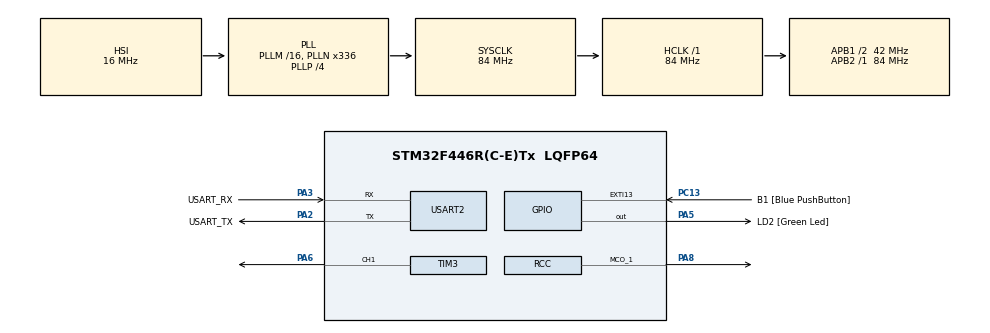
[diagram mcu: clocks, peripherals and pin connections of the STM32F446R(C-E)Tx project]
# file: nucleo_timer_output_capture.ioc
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Mcu.Family=STM32F4
Mcu.Name=STM32F446R(C-E)Tx
Mcu.Package=LQFP64
NVIC.PriorityGroup=NVIC_PRIORITYGROUP_0
NVIC.RCC_IRQn=true\:0\:0\:false\:false\:true\:true\:false\:true
NVIC.USART2_IRQn=true\:0\:0\:false\:false\:true\:true\:true\:true
PA13.GPIO_Label=TMS
PA13.Signal=SYS_JTMS-SWDIO
PA14.GPIO_Label=TCK
PA14.Signal=SYS_JTCK-SWCLK
PA2.GPIO_Label=USART_TX
PA2.Mode=Asynchronous
PA2.Signal=USART2_TX
PA3.GPIO_Label=USART_RX
PA3.Mode=Asynchronous
PA3.Signal=USART2_RX
PA5.GPIO_Label=LD2 [Green Led]
PA5.Signal=GPIO_Output
PA6.Signal=S_TIM3_CH1
PA8.Mode=Clock-out-1
PA8.Signal=RCC_MCO_1
PB3.GPIO_Label=SWO
PB3.Signal=SYS_JTDO-SWO
PC13.GPIO_Label=B1 [Blue PushButton]
PC13.GPIO_ModeDefaultEXTI=GPIO_MODE_IT_FALLING
PC13.Signal=GPXTI13
PC14-OSC32_IN.Signal=RCC_OSC32_IN
PC15-OSC32_OUT.Signal=RCC_OSC32_OUT
PH0-OSC_IN.Signal=RCC_OSC_IN
PH1-OSC_OUT.Signal=RCC_OSC_OUT
ProjectManager.HeapSize=0x200
ProjectManager.StackSize=0x400
ProjectManager.TargetToolchain=STM32CubeIDE
RCC.AHBFreq_Value=84000000
RCC.APB1CLKDivider=RCC_HCLK_DIV2
RCC.APB1Freq_Value=42000000
RCC.APB1TimFreq_Value=84000000
RCC.APB2Freq_Value=84000000
RCC.APB2TimFreq_Value=84000000
RCC.CortexFreq_Value=84000000
RCC.FLatency-AdvancedSettings=FLASH_LATENCY_2
RCC.HCLKFreq_Value=84000000
RCC.HSE_VALUE=8000000
RCC.HSI_VALUE=16000000
RCC.LSE_VALUE=32768
RCC.PLLN=336
RCC.PLLP=RCC_PLLP_DIV4
RCC.SYSCLKFreq_VALUE=84000000
RCC.SYSCLKSource=RCC_SYSCLKSOURCE_PLLCLK
RCC.USBFreq_Value=168000000
RCC.VCOOutputFreq_Value=336000000
SH.S_TIM3_CH1.0=TIM3_CH1,Output Compare1 CH1
TIM3.Channel-Output\ Compare1\ CH1=TIM_CHANNEL_1
USART2.VirtualMode=VM_ASYNC
VP_TIM3_VS_ClockSourceINT.Mode=Internal
board=NUCLEO-F446RE

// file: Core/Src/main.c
/* USER CODE BEGIN Header */
/**
 ******************************************************************************
 * @file           : main.c
 * @brief          : Main program body
 ******************************************************************************
 * @attention
 *
 * Copyright (c) 2024 STMicroelectronics.
 * All rights reserved.
 *
 * This software is licensed under terms that can be found in the LICENSE file
 * in the root directory of this software component.
 * If no LICENSE file comes with this software, it is provided AS-IS.
 *
 ******************************************************************************
 */
/* USER CODE END Header */
#include "main.h"

/* USER CODE BEGIN Includes */
#include <string.h>
#include <stdio.h>
#include <stdarg.h> // Include for va_list and related functions
/* USER CODE END Includes */

TIM_HandleTypeDef htim3;

UART_HandleTypeDef huart2;

/* USER CODE BEGIN PV */
volatile uint8_t is_capture_done = 0;
uint32_t input_captures[2] = { 0 };
uint8_t count = 1;
/* USER CODE END PV */

void SystemClock_Config(void);
static void MX_GPIO_Init(void);
static void MX_USART2_UART_Init(void);
static void MX_TIM3_Init(void);
/* USER CODE BEGIN PFP */
void logUART(const char *format, ...);
/* USER CODE END PFP */

/* USER CODE BEGIN 0 */
/**
 * Callback when interrupt is triggered in input capture of timer2.
 */
void HAL_TIM_IC_CaptureCallback(TIM_HandleTypeDef *htim) {
	if (htim->Channel == HAL_TIM_ACTIVE_CHANNEL_1) {
		logUART("\nActive value = %d\r\n",
				HAL_TIM_ReadCapturedValue(htim, TIM_CHANNEL_1));

		if (HAL_TIM_ReadCapturedValue(htim, TIM_CHANNEL_1) == 0) {
			logUART("\nEQUALS0 = %d\r\n",
					HAL_TIM_ReadCapturedValue(htim, TIM_CHANNEL_1));
		}

		if (!is_capture_done) {
			if (count == 1) {
				input_captures[0] = __HAL_TIM_GET_COMPARE(htim, TIM_CHANNEL_1);
				count++;
				//			logUART("\ncount == 1; count++%d\r\n", count);

			} else if (count == 2) {
				input_captures[1] = __HAL_TIM_GET_COMPARE(htim, TIM_CHANNEL_1);
				count = 1;
				is_capture_done = 0;
				//			logUART("\ncount == 2; capture is done\r\n");
			}
		}
	}
}

/**
 * Logging to UART to help debug.
 */
void logUART(const char *format, ...) {
	char usr_msg[100]; // Buffer for the formatted message
	va_list args;

	// Initialize the va_list variable with the last known fixed parameter (in this case, 'format')
	va_start(args, format);

	// Use vsnprintf to safely format the string into usr_msg
	// vsnprintf returns the number of characters that would have been written if usr_msg had been sufficiently large
	vsnprintf(usr_msg, sizeof(usr_msg), format, args);

	// Clean up the va_list when we're done with it
	va_end(args);

	// Transmit the formatted string via UART
	HAL_UART_Transmit(&huart2, (uint8_t*) usr_msg, strlen(usr_msg),
	HAL_MAX_DELAY);
}

/* USER CODE END 0 */

int main(void)
{

  /* MCU Configuration--------------------------------------------------------*/

  /* Reset of all peripherals, Initializes the Flash interface and the Systick. */
  HAL_Init();

  /* Configure the system clock */
  SystemClock_Config();

  /* Initialize all configured peripherals */
  MX_GPIO_Init();
  MX_USART2_UART_Init();
  MX_TIM3_Init();
  /* USER CODE BEGIN 2 */
	HAL_TIM_Base_Start_IT(&htim2);
	HAL_TIM_IC_Start_IT(&htim2, TIM_CHANNEL_1);
	logUART("\nInside While 1");
  /* USER CODE END 2 */

  /* Infinite loop */
  /* USER CODE BEGIN WHILE */
	while (1) {
		logUART("\nInside While 1");
    /* USER CODE END WHILE */

	}
}

void SystemClock_Config(void)
{
  RCC_OscInitTypeDef RCC_OscInitStruct = {0};
  RCC_ClkInitTypeDef RCC_ClkInitStruct = {0};

  /** Configure the main internal regulator output voltage
  */
  __HAL_RCC_PWR_CLK_ENABLE();
  __HAL_PWR_VOLTAGESCALING_CONFIG(PWR_REGULATOR_VOLTAGE_SCALE3);

  /** Initializes the RCC Oscillators according to the specified parameters
  * in the RCC_OscInitTypeDef structure.
  */
  RCC_OscInitStruct.OscillatorType = RCC_OSCILLATORTYPE_HSI;
  RCC_OscInitStruct.HSIState = RCC_HSI_ON;
  RCC_OscInitStruct.HSICalibrationValue = RCC_HSICALIBRATION_DEFAULT;
  RCC_OscInitStruct.PLL.PLLState = RCC_PLL_ON;
  RCC_OscInitStruct.PLL.PLLSource = RCC_PLLSOURCE_HSI;
  RCC_OscInitStruct.PLL.PLLM = 16;
  RCC_OscInitStruct.PLL.PLLN = 336;
  RCC_OscInitStruct.PLL.PLLP = RCC_PLLP_DIV4;
  RCC_OscInitStruct.PLL.PLLQ = 2;
  RCC_OscInitStruct.PLL.PLLR = 2;
  if (HAL_RCC_OscConfig(&RCC_OscInitStruct) != HAL_OK)
  {
    Error_Handler();
  }

  /** Initializes the CPU, AHB and APB buses clocks
  */
  RCC_ClkInitStruct.ClockType = RCC_CLOCKTYPE_HCLK|RCC_CLOCKTYPE_SYSCLK
                              |RCC_CLOCKTYPE_PCLK1|RCC_CLOCKTYPE_PCLK2;
  RCC_ClkInitStruct.SYSCLKSource = RCC_SYSCLKSOURCE_PLLCLK;
  RCC_ClkInitStruct.AHBCLKDivider = RCC_SYSCLK_DIV1;
  RCC_ClkInitStruct.APB1CLKDivider = RCC_HCLK_DIV2;
  RCC_ClkInitStruct.APB2CLKDivider = RCC_HCLK_DIV1;

  if (HAL_RCC_ClockConfig(&RCC_ClkInitStruct, FLASH_LATENCY_2) != HAL_OK)
  {
    Error_Handler();
  }
  HAL_RCC_MCOConfig(RCC_MCO1, RCC_MCO1SOURCE_HSI, RCC_MCODIV_1);
}

static void MX_TIM3_Init(void)
{

  TIM_ClockConfigTypeDef sClockSourceConfig = {0};
  TIM_MasterConfigTypeDef sMasterConfig = {0};
  TIM_OC_InitTypeDef sConfigOC = {0};

  htim3.Instance = TIM3;
  htim3.Init.Prescaler = 0;
  htim3.Init.CounterMode = TIM_COUNTERMODE_UP;
  htim3.Init.Period = 65535;
  htim3.Init.ClockDivision = TIM_CLOCKDIVISION_DIV1;
  htim3.Init.AutoReloadPreload = TIM_AUTORELOAD_PRELOAD_DISABLE;
  if (HAL_TIM_Base_Init(&htim3) != HAL_OK)
  {
    Error_Handler();
  }
  sClockSourceConfig.ClockSource = TIM_CLOCKSOURCE_INTERNAL;
  if (HAL_TIM_ConfigClockSource(&htim3, &sClockSourceConfig) != HAL_OK)
  {
    Error_Handler();
  }
  if (HAL_TIM_OC_Init(&htim3) != HAL_OK)
  {
    Error_Handler();
  }
  sMasterConfig.MasterOutputTrigger = TIM_TRGO_RESET;
  sMasterConfig.MasterSlaveMode = TIM_MASTERSLAVEMODE_DISABLE;
  if (HAL_TIMEx_MasterConfigSynchronization(&htim3, &sMasterConfig) != HAL_OK)
  {
    Error_Handler();
  }
  sConfigOC.OCMode = TIM_OCMODE_TIMING;
  sConfigOC.Pulse = 0;
  sConfigOC.OCPolarity = TIM_OCPOLARITY_HIGH;
  sConfigOC.OCFastMode = TIM_OCFAST_DISABLE;
  if (HAL_TIM_OC_ConfigChannel(&htim3, &sConfigOC, TIM_CHANNEL_1) != HAL_OK)
  {
    Error_Handler();
  }
  HAL_TIM_MspPostInit(&htim3);

}

static void MX_USART2_UART_Init(void)
{

  huart2.Instance = USART2;
  huart2.Init.BaudRate = 115200;
  huart2.Init.WordLength = UART_WORDLENGTH_8B;
  huart2.Init.StopBits = UART_STOPBITS_1;
  huart2.Init.Parity = UART_PARITY_NONE;
  huart2.Init.Mode = UART_MODE_TX_RX;
  huart2.Init.HwFlowCtl = UART_HWCONTROL_NONE;
  huart2.Init.OverSampling = UART_OVERSAMPLING_16;
  if (HAL_UART_Init(&huart2) != HAL_OK)
  {
    Error_Handler();
  }

}

static void MX_GPIO_Init(void)
{
  GPIO_InitTypeDef GPIO_InitStruct = {0};

  /* GPIO Ports Clock Enable */
  __HAL_RCC_GPIOC_CLK_ENABLE();
  __HAL_RCC_GPIOH_CLK_ENABLE();
  __HAL_RCC_GPIOA_CLK_ENABLE();
  __HAL_RCC_GPIOB_CLK_ENABLE();

  /*Configure GPIO pin Output Level */
  HAL_GPIO_WritePin(LD2_GPIO_Port, LD2_Pin, GPIO_PIN_RESET);

  /*Configure GPIO pin : B1_Pin */
  GPIO_InitStruct.Pin = B1_Pin;
  GPIO_InitStruct.Mode = GPIO_MODE_IT_FALLING;
  GPIO_InitStruct.Pull = GPIO_NOPULL;
  HAL_GPIO_Init(B1_GPIO_Port, &GPIO_InitStruct);

  /*Configure GPIO pin : LD2_Pin */
  GPIO_InitStruct.Pin = LD2_Pin;
  GPIO_InitStruct.Mode = GPIO_MODE_OUTPUT_PP;
  GPIO_InitStruct.Pull = GPIO_NOPULL;
  GPIO_InitStruct.Speed = GPIO_SPEED_FREQ_LOW;
  HAL_GPIO_Init(LD2_GPIO_Port, &GPIO_InitStruct);

  /*Configure GPIO pin : PA8 */
  GPIO_InitStruct.Pin = GPIO_PIN_8;
  GPIO_InitStruct.Mode = GPIO_MODE_AF_PP;
  GPIO_InitStruct.Pull = GPIO_NOPULL;
  GPIO_InitStruct.Speed = GPIO_SPEED_FREQ_LOW;
  GPIO_InitStruct.Alternate = GPIO_AF0_MCO;
  HAL_GPIO_Init(GPIOA, &GPIO_InitStruct);

}

void Error_Handler(void)
{
	__disable_irq();
	while (1) {
	}
}
